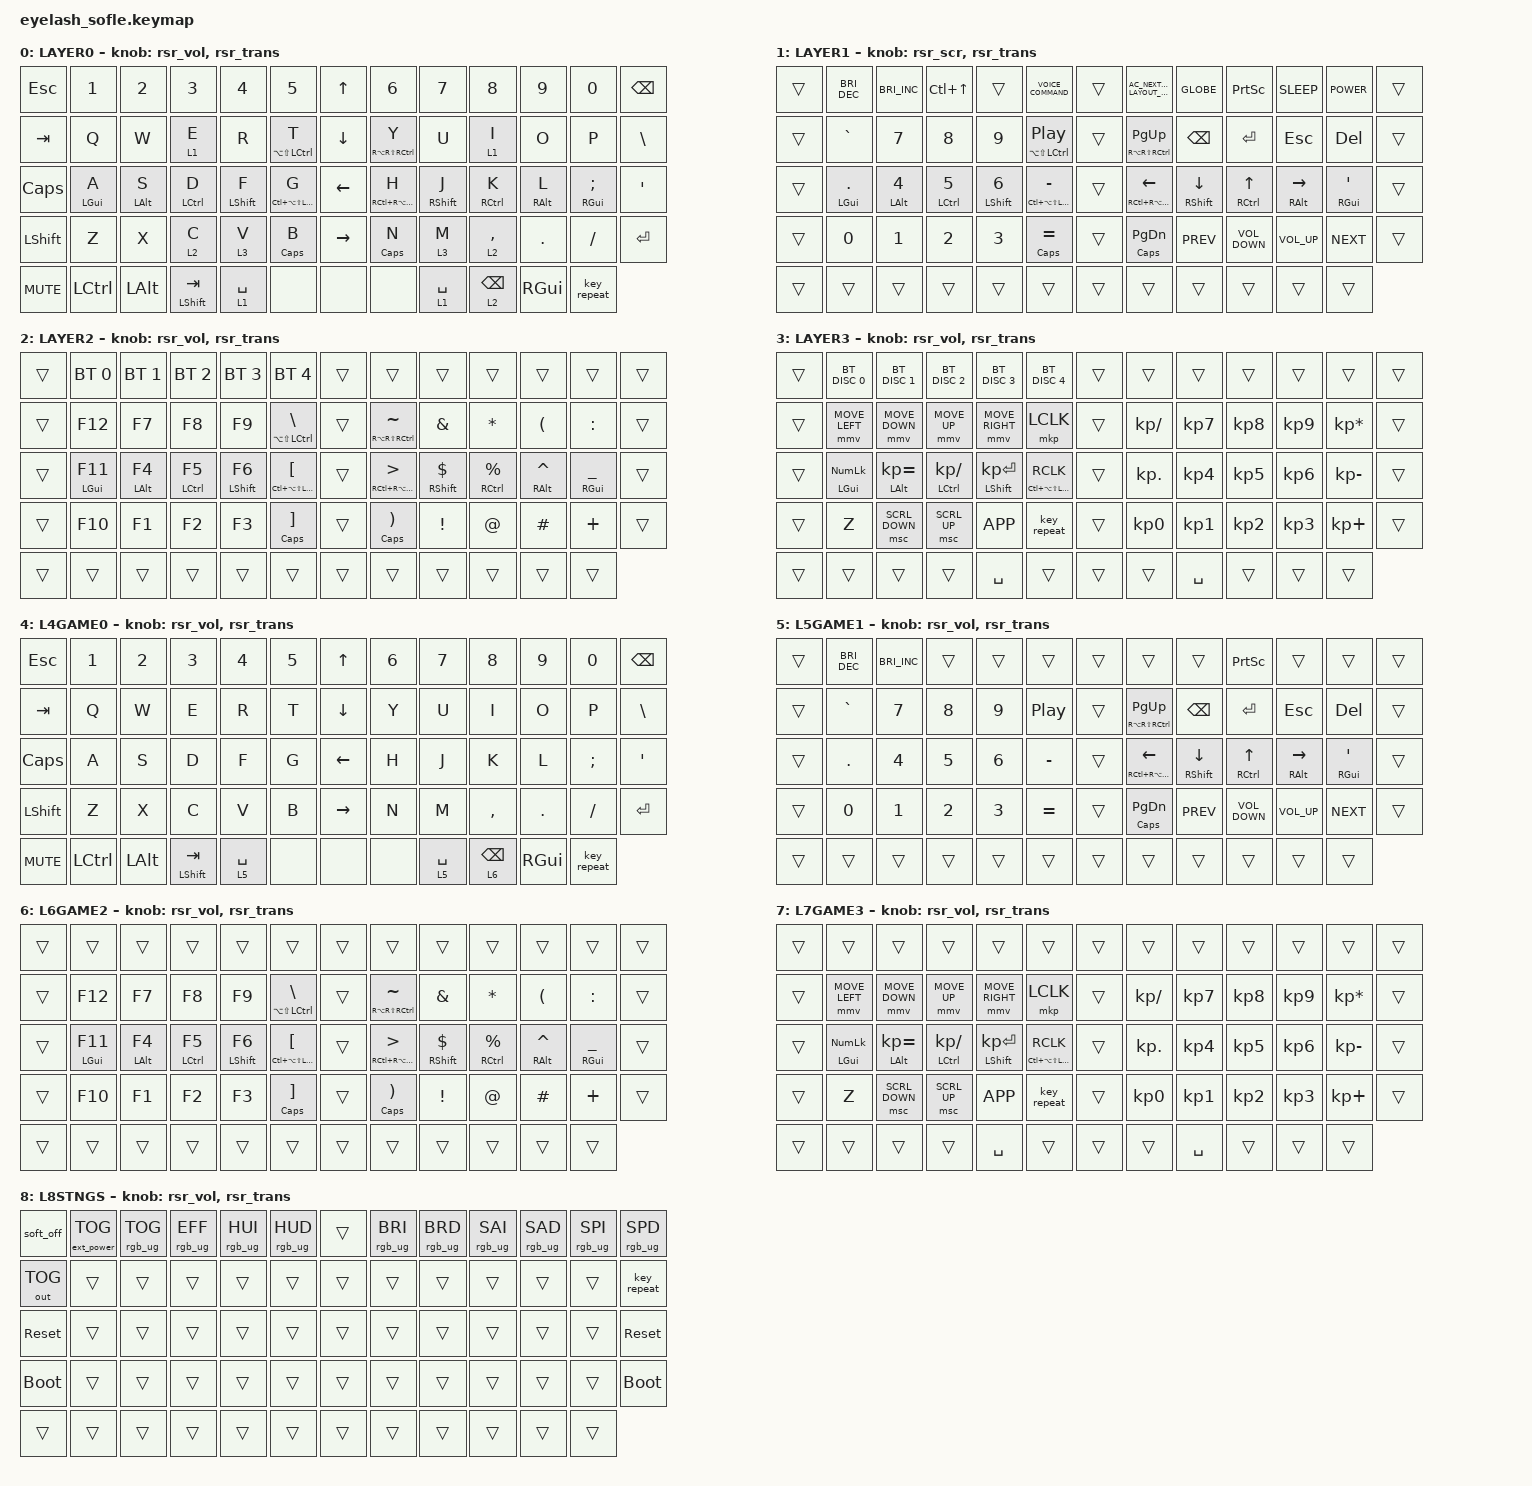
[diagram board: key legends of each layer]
#define ZMK_POINTING_DEFAULT_MOVE_VAL 1200  // 600
#define ZMK_POINTING_DEFAULT_SCRL_VAL 25   // 10

#include <input/processors.dtsi>
#include <zephyr/dt-bindings/input/input-event-codes.h>
#include <behaviors/runtime-sensor-rotate.dtsi>
#include <behaviors.dtsi>
#include <dt-bindings/zmk/bt.h>
#include <dt-bindings/zmk/ext_power.h>
#include <dt-bindings/zmk/keys.h>
#include <dt-bindings/zmk/outputs.h>
#include <dt-bindings/zmk/pointing.h>
#include <dt-bindings/zmk/rgb.h>

&mmv_input_listener { input-processors = <&zip_xy_scaler 2 1>; };

&msc_input_listener { input-processors = <&zip_scroll_scaler 2 1>; };

&msc {
    acceleration-exponent = <1>;      // 0
    time-to-max-speed-ms = <700>;       // 300
    delay-ms = <0>;                   // 0
};

&mmv {
    time-to-max-speed-ms = <500>;
    acceleration-exponent = <1>;
    trigger-period-ms = <16>;
};

&soft_off { hold-time-ms = <2000>; };

/ {
    scroll_encoder: scroll_encoder {
        compatible = "zmk,behavior-sensor-rotate";
        #sensor-binding-cells = <0>;
        bindings = <&msc SCRL_DOWN>, <&msc SCRL_UP>;

        tap-ms = <100>;
    };

    HRMR: HRMR {
        compatible = "zmk,behavior-hold-tap";
        label = "HRMR";
        bindings = <&kp>, <&kp>;

        #binding-cells = <2>;
        tapping-term-ms = <280>;
        quick-tap-ms = <175>;
        flavor = "balanced";
        hold-trigger-key-positions = <0 1 2 3 4 5 13 14 15 16 17 18 26 27 28 29 30 31 39 40 41 42 43 44 53 54 56 57 52 19 58 6 45 32 63 62 61 60 59 55>;
        hold-trigger-on-release;
        require-prior-idle-ms = <150>;
    };

    HRML: HRML {
        compatible = "zmk,behavior-hold-tap";
        label = "HRML";
        bindings = <&kp>, <&kp>;

        #binding-cells = <2>;
        tapping-term-ms = <280>;
        quick-tap-ms = <175>;
        flavor = "balanced";
        hold-trigger-on-release;
        require-prior-idle-ms = <150>;
        hold-trigger-key-positions = <6 7 8 9 10 11 12 19 20 21 22 23 24 25 32 33 34 35 36 37 38 45 46 47 48 49 50 51 52 57 58 59 60 61 62 63 56 54 53 55>;
    };

    HRMLmouse: HRMLmouse {
        compatible = "zmk,behavior-hold-tap";
        label = "HRMLMOUSE";
        bindings = <&kp>, <&mkp>;

        #binding-cells = <2>;
        tapping-term-ms = <280>;
        quick-tap-ms = <175>;
        flavor = "balanced";
        hold-trigger-key-positions = <53 54 57 52 19 58 6 45 32 63 62 61 60 59 7 8 9 10 11 12 20 21 22 23 24 25 33 34 35 36 37 38 46 47 48 49 50 51 56>;
        hold-trigger-on-release;
        require-prior-idle-ms = <150>;
    };

    behaviors {
        rsr_vol: rsr_vol {
            compatible = "zmk,behavior-runtime-sensor-rotate";
            #sensor-binding-cells = <0>;
            tap-ms = <5>;
            cw-binding = <&kp C_VOL_UP>;
            ccw-binding = <&kp C_VOL_DN>;
        };

        rsr_scr: rsr_scr {
            compatible = "zmk,behavior-runtime-sensor-rotate";
            #sensor-binding-cells = <0>;
            tap-ms = <100>;
            cw-binding = <&scroll_up_macro>;
            ccw-binding = <&scroll_up_macro>;
        };

        rsr_trans: rsr_trans {
            compatible = "zmk,behavior-runtime-sensor-rotate";
            #sensor-binding-cells = <0>;
            tap-ms = <0>;
        };

        LayTapRight: LayTapRight {
            compatible = "zmk,behavior-hold-tap";
            label = "LAYTAPRIGHT";
            bindings = <&mo>, <&kp>;

            #binding-cells = <2>;
            tapping-term-ms = <280>;
            quick-tap-ms = <175>;
            flavor = "balanced";
            hold-trigger-key-positions = <0 1 2 3 4 5 13 14 15 16 17 18 26 27 28 29 30 31 39 40 41 42 43 44 53 54 56 57 52 19 58 6 45 32 63 62 61 60 59 55>;
            hold-trigger-on-release;
            require-prior-idle-ms = <150>;
        };

        LayTapLeft: LayTapLeft {
            compatible = "zmk,behavior-hold-tap";
            label = "LAYTAPLEFT";
            bindings = <&mo>, <&kp>;

            #binding-cells = <2>;
            tapping-term-ms = <280>;
            quick-tap-ms = <175>;
            flavor = "balanced";
            hold-trigger-on-release;
            require-prior-idle-ms = <150>;
            hold-trigger-key-positions = <6 7 8 9 10 11 12 19 20 21 22 23 24 25 32 33 34 35 36 37 38 45 46 47 48 49 50 51 52 57 58 59 60 61 62 63 56 54 53 55>;
        };
    };

    combos {
        compatible = "zmk,combos";

        softoff {
            bindings = <&soft_off>;
            key-positions = <14 28 40>;
            layers = <0 4 8>;
            require-prior-idle-ms = <1000>;
            timeout-ms = <1000>;
        };

        togaming {
            bindings = <&tog 4>;
            key-positions = <53 56>;
            layers = <0 4>;
            require-prior-idle-ms = <200>;
        };

        esc {
            bindings = <&kp ESCAPE>;
            key-positions = <17 16>;
            require-prior-idle-ms = <100>;
            layers = <0 2 1 3 4>;
        };

        enter {
            bindings = <&kp ENTER>;
            key-positions = <21 22>;
            require-prior-idle-ms = <100>;
            layers = <0 1 2 3 4>;
        };

        backspace {
            bindings = <&kp BACKSPACE>;
            key-positions = <22 23>;
            require-prior-idle-ms = <100>;
            layers = <0 1 2 3 4>;
        };

        layer1 {
            bindings = <&lt 2 ENTER>;
            key-positions = <55 56>;
            layers = <0 1 2 3>;
            require-prior-idle-ms = <100>;
        };

        layer6gaming2 {
            bindings = <&lt 6 ENTER>;
            key-positions = <55 56>;
            require-prior-idle-ms = <100>;
            layers = <4 5 6 7>;
        };

        l3anddelete {
            bindings = <&lt 3 DEL>;
            key-positions = <60 61>;
            layers = <0 2 1 3>;
            require-prior-idle-ms = <100>;
        };

        btprof1 {
            bindings = <&bt BT_SEL 0>;
            key-positions = <29 17>;
            require-prior-idle-ms = <100>;
            layers = <0 2 1 3>;
        };

        btprof2 {
            bindings = <&bt BT_SEL 1>;
            key-positions = <29 43>;
            require-prior-idle-ms = <100>;
            layers = <0 2 1 3>;
        };

        BtCLR {
            bindings = <&bt BT_CLR>;
            key-positions = <14 24>;
            require-prior-idle-ms = <100>;
            layers = <8>;
        };

        layer7anddelete {
            bindings = <&lt 7 DEL>;
            key-positions = <60 61>;
            require-prior-idle-ms = <100>;
            layers = <4 5 6 7>;
        };

        middleclick {
            bindings = <&mkp MCLK>;
            key-positions = <18 31>;
            layers = <3 7>;
            require-prior-idle-ms = <100>;
        };

        Tab {
            bindings = <&kp TAB>;
            key-positions = <15 14>;
            require-prior-idle-ms = <100>;
            layers = <0 2 1>;
        };

        VolUp {
            bindings = <&kp C_VOLUME_UP>;
            key-positions = <43 42>;
            require-prior-idle-ms = <100>;
            layers = <0>;
        };

        VolDwn {
            bindings = <&kp C_VOLUME_DOWN>;
            key-positions = <42 41>;
            require-prior-idle-ms = <100>;
            layers = <0>;
        };

        layer8settings {
            bindings = <&tog 8>;
            key-positions = <51 7>;
            require-prior-idle-ms = <200>;
            layers = <0 4 8>;
            timeout-ms = <300>;
        };

        Layer8TogLeft {
            bindings = <&tog 8>;
            key-positions = <39 5>;
            timeout-ms = <300>;
            require-prior-idle-ms = <200>;
            layers = <0 4 8>;
        };

        toglayer3 {
            bindings = <&tog 3>;
            key-positions = <40 41>;
            require-prior-idle-ms = <250>;
            layers = <0 3>;
        };

        togam {
            bindings = <&tog 4>;
            key-positions = <50 51>;
            require-prior-idle-ms = <200>;
            layers = <0 4>;
        };

        Rightdelete {
            bindings = <&kp DEL>;
            key-positions = <23 24>;
            require-prior-idle-ms = <200>;
            layers = <0 2 1 3>;
        };

        capsword {
            bindings = <&caps_word>;
            key-positions = <30 31>;
            require-prior-idle-ms = <100>;
            layers = <0 2 1>;
        };

        btnext {
            bindings = <&bt BT_NXT>;
            key-positions = <29 17>;
            require-prior-idle-ms = <100>;
            layers = <8>;
        };

        btprev {
            bindings = <&bt BT_PRV>;
            key-positions = <29 43>;
            require-prior-idle-ms = <100>;
            layers = <8>;
        };

        toglay3right {
            bindings = <&tog 3>;
            key-positions = <50 49>;
            require-prior-idle-ms = <250>;
            layers = <0 3>;
        };

        ctrl_c {
            bindings = <&kp LC(C)>;
            key-positions = <42 29>;
            require-prior-idle-ms = <100>;
            layers = <0 2 1 3>;
        };

        pgup {
            bindings = <&kp PG_UP>;
            key-positions = <30 17>;
            require-prior-idle-ms = <100>;
            layers = <0 2 1 3>;
        };

        pgdwn {
            bindings = <&kp PAGE_DOWN>;
            key-positions = <30 43>;
            require-prior-idle-ms = <100>;
            layers = <0 2 1 3>;
        };

        back {
            bindings = <&kp C_AC_BACK>;
            key-positions = <15 17>;
            require-prior-idle-ms = <100>;
            layers = <0 2 1 3>;
        };

        forward {
            bindings = <&kp C_AC_FORWARD>;
            key-positions = <18 15>;
            require-prior-idle-ms = <100>;
            layers = <0 2 1 3>;
        };

        AltF4 {
            bindings = <&kp LA(F4)>;
            key-positions = <17 14>;
            require-prior-idle-ms = <100>;
            layers = <0 2 1 3>;
        };
    };

    macros {
        SHIFT_MCLK: SHIFT_MCLK {
            compatible = "zmk,behavior-macro";
            #binding-cells = <0>;
            bindings =
                <&macro_press>,
                <&kp LEFT_SHIFT>,
                <&macro_press>,
                <&mkp MB3>,
                <&macro_pause_for_release>,
                <&macro_release>,
                <&kp LEFT_SHIFT &mkp MB3>;

            label = "SHIFT_MCLK";
        };

        scroll_up_macro: scroll_up_macro {
            compatible = "zmk,behavior-macro";
            #binding-cells = <0>;
            bindings = <&msc SCRL_UP>;
        };

        scroll_down_macro: scroll_down_macro {
            compatible = "zmk,behavior-macro";
            #binding-cells = <0>;
            bindings = <&msc SCRL_DOWN>;
        };
    };

    keymap {
        compatible = "zmk,keymap";

        layer0 {
            bindings = <
&kp ESC       &kp N1        &kp N2        &kp N3              &kp N4           &kp N5                      &kp UP_ARROW     &kp N6                         &kp N7            &kp N8                &kp N9        &kp N0           &kp BACKSPACE
&kp TAB       &kp Q         &kp W         &LayTapLeft 1 E     &kp R            &HRML LA(LS(LCTRL)) T       &kp DOWN_ARROW   &HRMR RA(RS(RCTRL)) Y          &kp U             &LayTapRight 1 I      &kp O         &kp P            &kp BSLH
&kp CAPSLOCK  &HRML LGUI A  &HRML LALT S  &HRML LCTRL D       &HRML LSHFT F    &HRML LC(LA(LS(LGUI))) G    &kp LEFT_ARROW   &HRMR RC(RA(RS(RIGHT_GUI))) H  &HRMR RSHIFT J    &HRMR RCTRL K         &HRMR RALT L  &HRMR RGUI SEMI  &kp APOS
&kp LSHIFT    &kp Z         &kp X         &LayTapLeft 2 C     &LayTapLeft 3 V  &HRML CAPSLOCK B            &kp RIGHT_ARROW  &HRMR CAPSLOCK N               &LayTapRight 3 M  &LayTapRight 2 COMMA  &kp DOT       &kp FSLH         &kp ENTER
&kp C_MUTE    &kp LCTRL     &kp LEFT_ALT  &mt LEFT_SHIFT TAB  &lt 1 SPACE      &none                       &none            &none                          &lt 1 SPACE       &lt 2 BACKSPACE       &kp RGUI      &key_repeat
            >;

            sensor-bindings = <&rsr_vol &rsr_trans>;
            display-name = "LAYER0";
        };

        layer1 {
            bindings = <
&trans  &kp C_BRIGHTNESS_DEC  &kp C_BRIGHTNESS_INC  &kp LC(UP_ARROW)  &trans               &kp C_VOICE_COMMAND                 &trans  &kp C_AC_NEXT_KEYBOARD_LAYOUT_SELECT  &kp GLOBE                &kp PRINTSCREEN       &kp C_SLEEP             &kp C_POWER      &trans
&trans  &kp GRAVE             &kp N7                &kp N8            &kp N9               &HRML LA(LS(LCTRL)) C_PP            &trans  &HRMR RA(RS(RCTRL)) PAGE_UP           &kp BACKSPACE            &kp ENTER             &kp ESCAPE              &kp DEL          &trans
&trans  &HRML LGUI DOT        &HRML LEFT_ALT N4     &HRML LCTRL N5    &HRML LEFT_SHIFT N6  &HRML LC(LA(LS(LEFT_GUI))) MINUS    &trans  &HRMR RC(RA(RS(RGUI))) LEFT_ARROW     &HRMR RSHIFT DOWN_ARROW  &HRMR RCTRL UP_ARROW  &HRMR RALT RIGHT_ARROW  &HRMR RGUI APOS  &trans
&trans  &kp N0                &kp N1                &kp N2            &kp N3               &HRML CAPSLOCK EQUAL                &trans  &HRMR CAPSLOCK PG_DN                  &kp C_PREV               &kp C_VOLUME_DOWN     &kp C_VOLUME_UP         &kp C_NEXT       &trans
&trans  &trans                &trans                &trans            &trans               &trans                              &trans  &trans                                &trans                   &trans                &trans                  &trans
            >;

            sensor-bindings = <&rsr_scr &rsr_trans>;
            display-name = "LAYER1";
        };

        layer2 {
            bindings = <
&trans  &bt BT_SEL 0    &bt BT_SEL 1   &bt BT_SEL 2    &bt BT_SEL 3     &bt BT_SEL 4                               &trans  &trans                     &trans             &trans             &trans            &trans            &trans
&trans  &kp F12         &kp F7         &kp F8          &kp F9           &HRML LA(LS(LCTRL)) BACKSLASH              &trans  &HRMR RA(RS(RCTRL)) TILDE  &kp AMPS           &kp STAR           &kp LPAR          &kp COLON         &trans
&trans  &HRML LGUI F11  &HRML LALT F4  &HRML LCTRL F5  &HRML LSHIFT F6  &HRML LC(LA(LS(LEFT_GUI))) LEFT_BRACKET    &trans  &HRMR RC(RA(RS(RGUI))) GT  &HRMR RSHIFT DLLR  &HRMR RCTRL PRCNT  &HRMR RALT CARET  &HRMR RGUI UNDER  &trans
&trans  &kp F10         &kp F1         &kp F2          &kp F3           &HRML CAPSLOCK RIGHT_BRACKET               &trans  &HRMR CAPSLOCK RPAR        &kp EXCL           &kp AT             &kp HASH          &kp PLUS          &trans
&trans  &trans          &trans         &trans          &trans           &trans                                     &trans  &trans                     &trans             &trans             &trans            &trans
            >;

            display-name = "LAYER2";
            sensor-bindings = <&rsr_vol &rsr_trans>;
        };

        layer3 {
            bindings = <
&trans  &bt BT_DISC 0          &bt BT_DISC 1        &bt BT_DISC 2          &bt BT_DISC 3              &bt BT_DISC 4                       &trans  &trans         &trans           &trans     &trans     &trans           &trans
&trans  &mmv MOVE_LEFT         &mmv MOVE_DOWN       &mmv MOVE_UP           &mmv MOVE_RIGHT            &mkp LCLK                           &trans  &kp KP_DIVIDE  &kp KP_N7        &kp KP_N8  &kp KP_N9  &kp KP_MULTIPLY  &trans
&trans  &HRML LEFT_GUI KP_NUM  &HRML LALT KP_EQUAL  &HRML LCTRL KP_DIVIDE  &HRML LEFT_SHIFT KP_ENTER  &HRMLmouse LC(LA(LS(LGUI))) RCLK    &trans  &kp KP_DOT     &kp KP_NUMBER_4  &kp KP_N5  &kp KP_N6  &kp KP_MINUS     &trans
&trans  &kp Z                  &msc SCRL_DOWN       &msc SCRL_UP           &kp K_APP                  &key_repeat                         &trans  &kp KP_N0      &kp KP_N1        &kp KP_N2  &kp KP_N3  &kp KP_PLUS      &trans
&trans  &trans                 &trans               &trans                 &kp SPACE                  &trans                              &trans  &trans         &kp SPACE        &trans     &trans     &trans
            >;

            display-name = "LAYER3";
            sensor-bindings = <&rsr_vol &rsr_trans>;
        };

        layer4Gaming0 {
            bindings = <
&kp ESC     &kp N1     &kp N2        &kp N3              &kp N4       &kp N5    &kp UP_ARROW     &kp N6  &kp N7       &kp N8           &kp N9         &kp N0       &kp BACKSPACE
&kp TAB     &kp Q      &kp W         &kp E               &kp R        &kp T     &kp DOWN_ARROW   &kp Y   &kp U        &kp I            &kp O          &kp P        &kp BSLH
&kp CAPS    &kp A      &kp S         &kp D               &kp F        &kp G     &kp LEFT_ARROW   &kp H   &kp J        &kp K            &kp L          &kp SEMI     &kp APOS
&kp LSHFT   &kp Z      &kp X         &kp C               &kp V        &kp B     &kp RIGHT_ARROW  &kp N   &kp M        &kp COMMA        &kp DOT        &kp FSLH     &kp ENTER
&kp C_MUTE  &kp LCTRL  &kp LEFT_ALT  &mt LEFT_SHIFT TAB  &lt 5 SPACE  &none     &none            &none   &lt 5 SPACE  &lt 6 BACKSPACE  &kp RIGHT_GUI  &key_repeat
            >;

            display-name = "L4GAME0";
            sensor-bindings = <&rsr_vol &rsr_trans>;
        };

        layer5Gaming1 {
            bindings = <
&trans  &kp C_BRIGHTNESS_DEC  &kp C_BRIGHTNESS_INC  &trans  &trans  &trans       &trans  &trans                             &trans                   &kp PRINTSCREEN       &trans            &trans           &trans
&trans  &kp GRAVE             &kp N7                &kp N8  &kp N9  &kp C_PP     &trans  &HRMR RA(RS(RCTRL)) PAGE_UP        &kp BACKSPACE            &kp ENTER             &kp ESC           &kp DEL          &trans
&trans  &kp DOT               &kp N4                &kp N5  &kp N6  &kp MINUS    &trans  &HRMR RC(RA(RS(RGUI))) LEFT_ARROW  &HRMR RSHIFT DOWN_ARROW  &HRMR RCTRL UP_ARROW  &HRMR RALT RIGHT  &HRMR RGUI APOS  &trans
&trans  &kp N0                &kp N1                &kp N2  &kp N3  &kp EQUAL    &trans  &HRMR CAPSLOCK PAGE_DOWN           &kp C_PREV               &kp C_VOLUME_DOWN     &kp C_VOLUME_UP   &kp C_NEXT       &trans
&trans  &trans                &trans                &trans  &trans  &trans       &trans  &trans                             &trans                   &trans                &trans            &trans
            >;

            display-name = "L5GAME1";
            sensor-bindings = <&rsr_vol &rsr_trans>;
        };

        layer6Gaming2 {
            bindings = <
&trans  &trans          &trans         &trans          &trans           &trans                                     &trans  &trans                     &trans             &trans             &trans            &trans            &trans
&trans  &kp F12         &kp F7         &kp F8          &kp F9           &HRML LA(LS(LCTRL)) BACKSLASH              &trans  &HRMR RA(RS(RCTRL)) TILDE  &kp AMPS           &kp STAR           &kp LPAR          &kp COLON         &trans
&trans  &HRML LGUI F11  &HRML LALT F4  &HRML LCTRL F5  &HRML LSHIFT F6  &HRML LC(LA(LS(LEFT_GUI))) LEFT_BRACKET    &trans  &HRMR RC(RA(RS(RGUI))) GT  &HRMR RSHIFT DLLR  &HRMR RCTRL PRCNT  &HRMR RALT CARET  &HRMR RGUI UNDER  &trans
&trans  &kp F10         &kp F1         &kp F2          &kp F3           &HRML CAPSLOCK RIGHT_BRACKET               &trans  &HRMR CAPSLOCK RPAR        &kp EXCL           &kp AT             &kp HASH          &kp PLUS          &trans
&trans  &trans          &trans         &trans          &trans           &trans                                     &trans  &trans                     &trans             &trans             &trans            &trans
            >;

            display-name = "L6GAME2";
            sensor-bindings = <&rsr_vol &rsr_trans>;
        };

        layer7Gaming3 {
            bindings = <
&trans  &trans                 &trans               &trans                 &trans                     &trans                              &trans  &trans         &trans           &trans     &trans     &trans           &trans
&trans  &mmv MOVE_LEFT         &mmv MOVE_DOWN       &mmv MOVE_UP           &mmv MOVE_RIGHT            &mkp LCLK                           &trans  &kp KP_DIVIDE  &kp KP_N7        &kp KP_N8  &kp KP_N9  &kp KP_MULTIPLY  &trans
&trans  &HRML LEFT_GUI KP_NUM  &HRML LALT KP_EQUAL  &HRML LCTRL KP_DIVIDE  &HRML LEFT_SHIFT KP_ENTER  &HRMLmouse LC(LA(LS(LGUI))) RCLK    &trans  &kp KP_DOT     &kp KP_NUMBER_4  &kp KP_N5  &kp KP_N6  &kp KP_MINUS     &trans
&trans  &kp Z                  &msc SCRL_DOWN       &msc SCRL_UP           &kp K_APP                  &key_repeat                         &trans  &kp KP_N0      &kp KP_N1        &kp KP_N2  &kp KP_N3  &kp KP_PLUS      &trans
&trans  &trans                 &trans               &trans                 &kp SPACE                  &trans                              &trans  &trans         &kp SPACE        &trans     &trans     &trans
            >;

            display-name = "L7GAME3";
            sensor-bindings = <&rsr_vol &rsr_trans>;
        };

        layer8Settings {
            bindings = <
&soft_off     &ext_power EP_TOG  &rgb_ug RGB_TOG  &rgb_ug RGB_EFF  &rgb_ug RGB_HUI  &rgb_ug RGB_HUD    &trans  &rgb_ug RGB_BRI  &rgb_ug RGB_BRD  &rgb_ug RGB_SAI  &rgb_ug RGB_SAD  &rgb_ug RGB_SPI  &rgb_ug RGB_SPD
&out OUT_TOG  &trans             &trans           &trans           &trans           &trans             &trans  &trans           &trans           &trans           &trans           &trans           &key_repeat
&sys_reset    &trans             &trans           &trans           &trans           &trans             &trans  &trans           &trans           &trans           &trans           &trans           &sys_reset
&bootloader   &trans             &trans           &trans           &trans           &trans             &trans  &trans           &trans           &trans           &trans           &trans           &bootloader
&trans        &trans             &trans           &trans           &trans           &trans             &trans  &trans           &trans           &trans           &trans           &trans
            >;

            label = "L8STNGS";
            sensor-bindings = <&rsr_vol &rsr_trans>;
        };
    };
};
